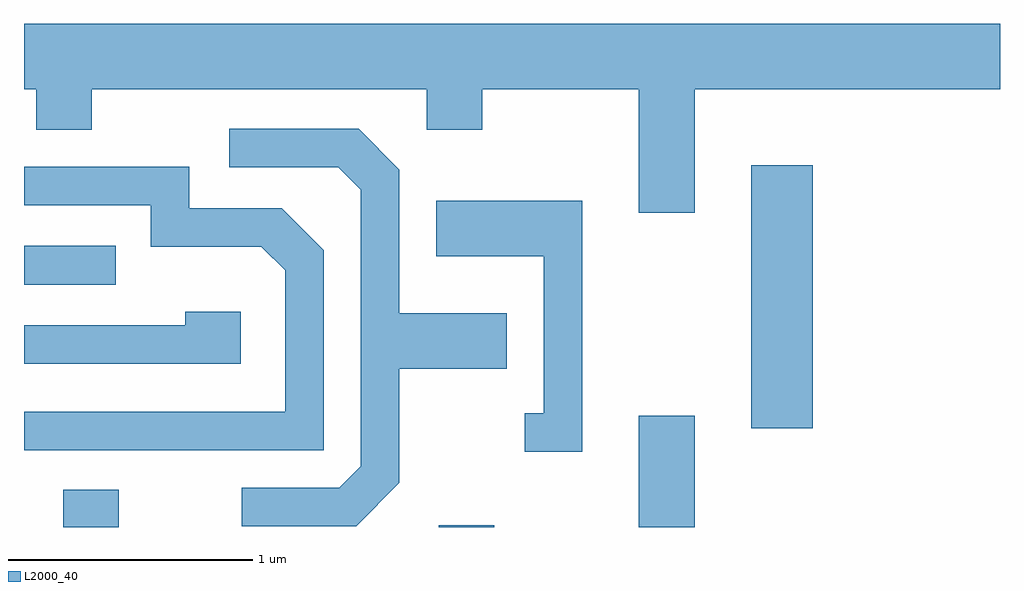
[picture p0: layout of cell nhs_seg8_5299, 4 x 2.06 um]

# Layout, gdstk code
import gdstk
lib = gdstk.Library(unit=1e-6, precision=1e-09)
def R(c, l, rs):  # rectangles x0, y0, x1, y1
    for r in rs: c.add(gdstk.rectangle(r[:2], r[2:], *l))
def P(c, l, *ps):  # polygons
    for p in ps: c.add(gdstk.Polygon(p, *l))
L2000_40 = (2000, 40)

nhs_seg8_5299 = lib.new_cell('nhs_seg8_5299')
R(nhs_seg8_5299, L2000_40, [(343.771,1892.342,343.999,1892.494), (345.311,1892.342,345.539,1892.349), (346.131,1892.342,346.359,1892.799), (346.591,1892.746,346.844,1893.824), (343.611,1893.336,343.988,1893.494)])
P(nhs_seg8_5299, L2000_40, [(346.359,1894.136),(347.611,1894.136),(347.611,1894.404),(343.611,1894.404),(343.611,1894.136),(343.661,1894.136),(343.661,1893.971),(343.889,1893.971),(343.889,1894.136),(345.261,1894.136),(345.261,1893.971),(345.489,1893.971),(345.489,1894.136),(346.131,1894.136),(346.131,1893.631),(346.359,1893.631)],
  [(345.149,1892.524),(345.149,1892.991),(345.589,1892.991),(345.589,1893.219),(345.149,1893.219),(345.149,1893.807),(344.982,1893.974),(344.453,1893.974),(344.453,1893.816),(344.899,1893.816),(344.991,1893.724),(344.991,1892.592),(344.904,1892.504),(344.503,1892.504),(344.503,1892.346),(344.972,1892.346)],
  [(344.839,1893.477),(344.667,1893.649),(344.289,1893.649),(344.289,1893.819),(343.611,1893.819),(343.611,1893.661),(344.131,1893.661),(344.131,1893.491),(344.584,1893.491),(344.681,1893.394),(344.681,1892.814),(343.611,1892.814),(343.611,1892.656),(344.839,1892.656)],
  [(345.899,1893.679),(345.301,1893.679),(345.301,1893.451),(345.741,1893.451),(345.741,1892.809),(345.663,1892.809),(345.663,1892.651),(345.899,1892.651)],
  [(344.499,1893.224),(344.271,1893.224),(344.271,1893.169),(343.611,1893.169),(343.611,1893.011),(344.499,1893.011)])

lib.write_gds('nhs_seg8_5299.gds')
